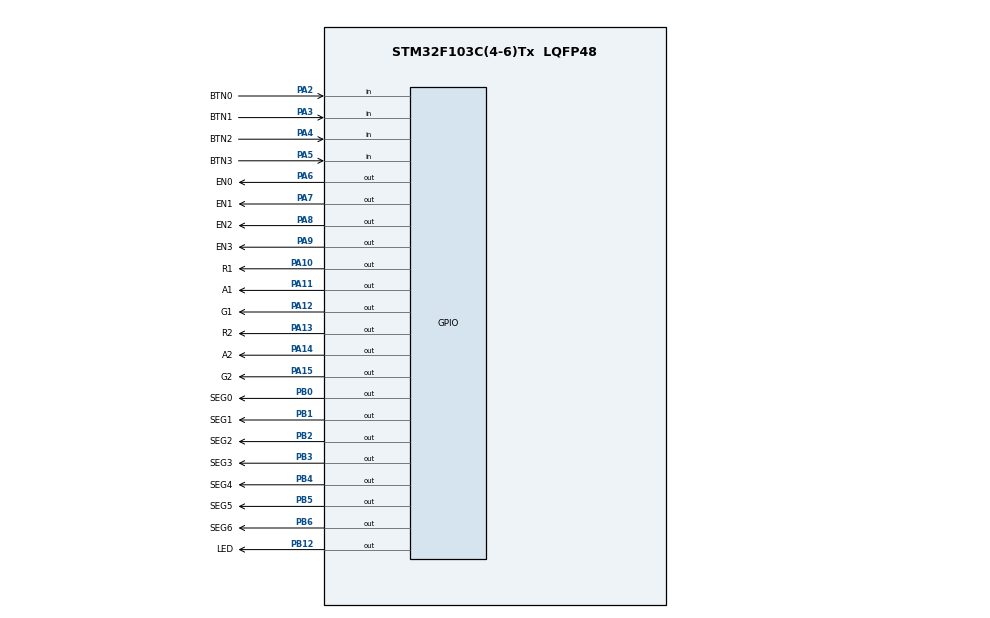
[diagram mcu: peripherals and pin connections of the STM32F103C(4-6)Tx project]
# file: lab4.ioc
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Mcu.Family=STM32F1
Mcu.Name=STM32F103C(4-6)Tx
Mcu.Package=LQFP48
NVIC.PriorityGroup=NVIC_PRIORITYGROUP_4
NVIC.TIM2_IRQn=true\:0\:0\:false\:false\:true\:true\:true
PA10.GPIO_Label=R1
PA10.Signal=GPIO_Output
PA11.GPIO_Label=A1
PA11.Signal=GPIO_Output
PA12.GPIO_Label=G1
PA12.Signal=GPIO_Output
PA13.GPIO_Label=R2
PA13.Signal=GPIO_Output
PA14.GPIO_Label=A2
PA14.Signal=GPIO_Output
PA15.GPIO_Label=G2
PA15.Signal=GPIO_Output
PA2.GPIO_Label=BTN0
PA2.Signal=GPIO_Input
PA3.GPIO_Label=BTN1
PA3.GPIO_PuPd=GPIO_PULLUP
PA3.Signal=GPIO_Input
PA4.GPIO_Label=BTN2
PA4.GPIO_PuPd=GPIO_PULLUP
PA4.Signal=GPIO_Input
PA5.GPIO_Label=BTN3
PA5.GPIO_PuPd=GPIO_PULLUP
PA5.Signal=GPIO_Input
PA6.GPIO_Label=EN0
PA6.Signal=GPIO_Output
PA7.GPIO_Label=EN1
PA7.Signal=GPIO_Output
PA8.GPIO_Label=EN2
PA8.Signal=GPIO_Output
PA9.GPIO_Label=EN3
PA9.Signal=GPIO_Output
PB0.GPIO_Label=SEG0
PB0.Signal=GPIO_Output
PB1.GPIO_Label=SEG1
PB1.Signal=GPIO_Output
PB12.GPIO_Label=LED
PB12.Signal=GPIO_Output
PB2.GPIO_Label=SEG2
PB2.Signal=GPIO_Output
PB3.GPIO_Label=SEG3
PB3.Signal=GPIO_Output
PB4.GPIO_Label=SEG4
PB4.Signal=GPIO_Output
PB5.GPIO_Label=SEG5
PB5.Signal=GPIO_Output
PB6.GPIO_Label=SEG6
PB6.Signal=GPIO_Output
ProjectManager.HeapSize=0x200
ProjectManager.StackSize=0x400
ProjectManager.TargetToolchain=STM32CubeIDE
RCC.APB1Freq_Value=8000000
RCC.APB2Freq_Value=8000000
TIM2.Period=9
TIM2.Prescaler=7999
VP_SYS_VS_ND.Mode=No_Debug
VP_TIM2_VS_ClockSourceINT.Mode=Internal
board=custom

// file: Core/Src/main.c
/* USER CODE BEGIN Header */
/**
  ******************************************************************************
  * @file           : main.c
  * @brief          : Main program body
  ******************************************************************************
  * @attention
  *
  * <h2><center>&copy; Copyright (c) 2025 STMicroelectronics.
  * All rights reserved.</center></h2>
  *
  * This software component is licensed by ST under BSD 3-Clause license,
  * the "License"; You may not use this file except in compliance with the
  * License. You may obtain a copy of the License at:
  *                        opensource.org/licenses/BSD-3-Clause
  *
  ******************************************************************************
  */
/* USER CODE END Header */
#include "main.h"

/* USER CODE BEGIN Includes */
#include "button.h"
#include "display7SEG.h"
#include "fsm_traffic_light.h"
#include "global.h"
#include "software_timer.h"
#include "scheduler.h"
/* USER CODE END Includes */

/* USER CODE BEGIN PTD */

void blink_LED() {
	HAL_GPIO_TogglePin(LED_GPIO_Port, LED_Pin);
}
/* USER CODE END PTD */

TIM_HandleTypeDef htim2;

void SystemClock_Config(void);
static void MX_GPIO_Init(void);
static void MX_TIM2_Init(void);
/* USER CODE BEGIN PFP */

void HAL_TIM_PeriodElapsedCallback(TIM_HandleTypeDef * htim){
  	SCH_Update();
}
/* USER CODE END PFP */

int main(void)
{

  /* MCU Configuration--------------------------------------------------------*/

  /* Reset of all peripherals, Initializes the Flash interface and the Systick. */
  HAL_Init();

  /* Configure the system clock */
  SystemClock_Config();

  /* Initialize all configured peripherals */
  MX_GPIO_Init();
  MX_TIM2_Init();
  /* USER CODE BEGIN 2 */
  HAL_TIM_Base_Start_IT(&htim2);

  SCH_Add_Task(getKeyInput, 0, 1);
  SCH_Add_Task(timerRun, 0, 1);
  SCH_Add_Task(fsm, 0, 1);
  SCH_Add_Task(blink_LED, 0, 100);
  /* USER CODE END 2 */

  /* Infinite loop */
  while (1)
  {

    /* USER CODE BEGIN 3 */
	  SCH_Dispatch_Tasks();
  }
  /* USER CODE END 3 */
}

void SystemClock_Config(void)
{
  RCC_OscInitTypeDef RCC_OscInitStruct = {0};
  RCC_ClkInitTypeDef RCC_ClkInitStruct = {0};

  /** Initializes the RCC Oscillators according to the specified parameters
  * in the RCC_OscInitTypeDef structure.
  */
  RCC_OscInitStruct.OscillatorType = RCC_OSCILLATORTYPE_HSI;
  RCC_OscInitStruct.HSIState = RCC_HSI_ON;
  RCC_OscInitStruct.HSICalibrationValue = RCC_HSICALIBRATION_DEFAULT;
  RCC_OscInitStruct.PLL.PLLState = RCC_PLL_NONE;
  if (HAL_RCC_OscConfig(&RCC_OscInitStruct) != HAL_OK)
  {
    Error_Handler();
  }
  /** Initializes the CPU, AHB and APB buses clocks
  */
  RCC_ClkInitStruct.ClockType = RCC_CLOCKTYPE_HCLK|RCC_CLOCKTYPE_SYSCLK
                              |RCC_CLOCKTYPE_PCLK1|RCC_CLOCKTYPE_PCLK2;
  RCC_ClkInitStruct.SYSCLKSource = RCC_SYSCLKSOURCE_HSI;
  RCC_ClkInitStruct.AHBCLKDivider = RCC_SYSCLK_DIV1;
  RCC_ClkInitStruct.APB1CLKDivider = RCC_HCLK_DIV1;
  RCC_ClkInitStruct.APB2CLKDivider = RCC_HCLK_DIV1;

  if (HAL_RCC_ClockConfig(&RCC_ClkInitStruct, FLASH_LATENCY_0) != HAL_OK)
  {
    Error_Handler();
  }
}

static void MX_TIM2_Init(void)
{

  TIM_ClockConfigTypeDef sClockSourceConfig = {0};
  TIM_MasterConfigTypeDef sMasterConfig = {0};

  htim2.Instance = TIM2;
  htim2.Init.Prescaler = 7999;
  htim2.Init.CounterMode = TIM_COUNTERMODE_UP;
  htim2.Init.Period = 9;
  htim2.Init.ClockDivision = TIM_CLOCKDIVISION_DIV1;
  htim2.Init.AutoReloadPreload = TIM_AUTORELOAD_PRELOAD_DISABLE;
  if (HAL_TIM_Base_Init(&htim2) != HAL_OK)
  {
    Error_Handler();
  }
  sClockSourceConfig.ClockSource = TIM_CLOCKSOURCE_INTERNAL;
  if (HAL_TIM_ConfigClockSource(&htim2, &sClockSourceConfig) != HAL_OK)
  {
    Error_Handler();
  }
  sMasterConfig.MasterOutputTrigger = TIM_TRGO_RESET;
  sMasterConfig.MasterSlaveMode = TIM_MASTERSLAVEMODE_DISABLE;
  if (HAL_TIMEx_MasterConfigSynchronization(&htim2, &sMasterConfig) != HAL_OK)
  {
    Error_Handler();
  }

}

static void MX_GPIO_Init(void)
{
  GPIO_InitTypeDef GPIO_InitStruct = {0};

  /* GPIO Ports Clock Enable */
  __HAL_RCC_GPIOA_CLK_ENABLE();
  __HAL_RCC_GPIOB_CLK_ENABLE();

  /*Configure GPIO pin Output Level */
  HAL_GPIO_WritePin(GPIOA, EN0_Pin|EN1_Pin|EN2_Pin|EN3_Pin
                          |R1_Pin|A1_Pin|G1_Pin|R2_Pin
                          |A2_Pin|G2_Pin, GPIO_PIN_RESET);

  /*Configure GPIO pin Output Level */
  HAL_GPIO_WritePin(GPIOB, SEG0_Pin|SEG1_Pin|SEG2_Pin|LED_Pin
                          |SEG3_Pin|SEG4_Pin|SEG5_Pin|SEG6_Pin, GPIO_PIN_RESET);

  /*Configure GPIO pin : BTN0_Pin */
  GPIO_InitStruct.Pin = BTN0_Pin;
  GPIO_InitStruct.Mode = GPIO_MODE_INPUT;
  GPIO_InitStruct.Pull = GPIO_NOPULL;
  HAL_GPIO_Init(BTN0_GPIO_Port, &GPIO_InitStruct);

  /*Configure GPIO pins : BTN1_Pin BTN2_Pin BTN3_Pin */
  GPIO_InitStruct.Pin = BTN1_Pin|BTN2_Pin|BTN3_Pin;
  GPIO_InitStruct.Mode = GPIO_MODE_INPUT;
  GPIO_InitStruct.Pull = GPIO_PULLUP;
  HAL_GPIO_Init(GPIOA, &GPIO_InitStruct);

  /*Configure GPIO pins : EN0_Pin EN1_Pin EN2_Pin EN3_Pin
                           R1_Pin A1_Pin G1_Pin R2_Pin
                           A2_Pin G2_Pin */
  GPIO_InitStruct.Pin = EN0_Pin|EN1_Pin|EN2_Pin|EN3_Pin
                          |R1_Pin|A1_Pin|G1_Pin|R2_Pin
                          |A2_Pin|G2_Pin;
  GPIO_InitStruct.Mode = GPIO_MODE_OUTPUT_PP;
  GPIO_InitStruct.Pull = GPIO_NOPULL;
  GPIO_InitStruct.Speed = GPIO_SPEED_FREQ_LOW;
  HAL_GPIO_Init(GPIOA, &GPIO_InitStruct);

  /*Configure GPIO pins : SEG0_Pin SEG1_Pin SEG2_Pin LED_Pin
                           SEG3_Pin SEG4_Pin SEG5_Pin SEG6_Pin */
  GPIO_InitStruct.Pin = SEG0_Pin|SEG1_Pin|SEG2_Pin|LED_Pin
                          |SEG3_Pin|SEG4_Pin|SEG5_Pin|SEG6_Pin;
  GPIO_InitStruct.Mode = GPIO_MODE_OUTPUT_PP;
  GPIO_InitStruct.Pull = GPIO_NOPULL;
  GPIO_InitStruct.Speed = GPIO_SPEED_FREQ_LOW;
  HAL_GPIO_Init(GPIOB, &GPIO_InitStruct);

}

void Error_Handler(void)
{
  __disable_irq();
  while (1)
  {
  }
}

/************************ (C) COPYRIGHT STMicroelectronics *****END OF FILE****/
